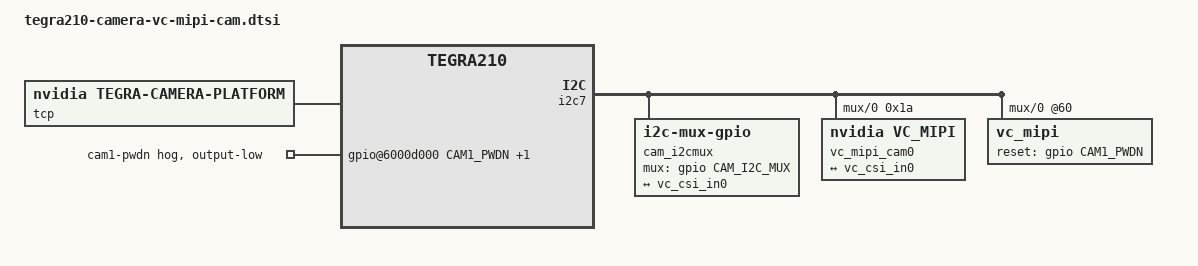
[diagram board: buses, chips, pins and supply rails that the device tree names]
/*
 * Copyright (c) 2020-2021, Vision Components GmbH.  All rights reserved.
 *
 * This program is free software; you can redistribute it and/or modify
 * it under the terms of the GNU General Public License as published by
 * the Free Software Foundation; either version 2 of the License, or
 * (at your option) any later version.
 *
 * This program is distributed in the hope that it will be useful, but WITHOUT
 * ANY WARRANTY; without even the implied warranty of MERCHANTABILITY or
 * FITNESS FOR A PARTICULAR PURPOSE.  See the GNU General Public License for
 * more details.
 *
 * You should have received a copy of the GNU General Public License
 * along with this program.  If not, see <http://www.gnu.org/licenses/>.
 */

#include <dt-bindings/media/camera.h>
#include <dt-bindings/platform/t210/t210.h>

// ------------------------------------------------------------------------------------------------
//  Driver Configuration for NVIDIA Jetson Nano 4GB/2GB on NVIDIA Jetson Nano Developer Kit
// ------------------------------------------------------------------------------------------------
#define VC_MIPI_CAM_0       1   // 1: Enabled, 0: Disabled  (serial_a => CSI Port 0 => VI Stream 0)
#define VC_MIPI_CAM_1       0   // 1: Enabled, 0: Disabled  (serial_e => CSI Port 4 => VI Stream 4)
// ------------------------------------------------------------------------------------------------
//  Supported number of lanes
// -----+------------------------------------------------------------------------------------------
//  1   | OV7251, IMX296, IMX297
//  2   | OV9281, IMX264, IMX265
//  2,4 | IMX178, IMX183, IMX226, IMX250, IMX252, IMX273, IMX290, IMX327, IMX335, IMX392, 
//      | IMX412, IMX415, IMX568
// -----+------------------------------------------------------------------------------------------
#define VC_MIPI_LANES       2   // 1, 2 Lanes
// ------------------------------------------------------------------------------------------------
//   Sensor Manufacturer
// -----+------------------------------------------------------------------------------------------
//   1  | Sony Sensor (IMX)
//   2  | Omni Vision Sensor (OV)
// -----+------------------------------------------------------------------------------------------
#define VC_MIPI_MANUFACTURER 1
// ------------------------------------------------------------------------------------------------
//  GStreamer Support
// ------------------------------------------------------------------------------------------------
//  If you want to use GStreamer with nvarguscamerasrc you have to adjust this settings in the 
//  device tree below.
//
//   +--------+------------+------------+-------------+-------------+-------------------+
//   | Camera | physical_w | physical_h | active_w    | active_h    | <pixelformat>     |
//   |        |            |            | line_length |             | see next table    |
//   +--------+------------+------------+-------------+-------------+----+----+----+----+
//   | V4LAPI |      1.000 |      1.000 |        1024 |         768 |    | 10 |    |    |
//   | IMX178 |      7.430 |      4.992 |        3072 |        2048 | 08 | 10 | 12 | 14 |
//   | IMX183 |     13.305 |      8.865 |        5440 |        3648 |    | 10 | 12 |    |
//   | IMX226 |      7.533 |      5.635 |        3904 |        3000 | 08 | 10 | 12 |    |
//   | IMX250 |      8.446 |      7.066 |        2432 |        2048 | 08 | 10 | 12 |    |
//   | IMX252 |      7.066 |      5.299 |        2048 |        1536 | 08 | 10 | 12 |    |
//   | IMX264 |      8.390 |      7.066 |        2432 |        2048 | 08 | 10 | 12 |    |
//   | IMX265 |      7.065 |      5.299 |        2048 |        1536 | 08 | 10 | 12 |    |
//   | IMX273 |      4.970 |      3.726 |        1440 |        1080 | 08 | 10 | 12 |    |
//   | IMX290 |      5.617 |      3.181 |        1920 |        1080 |    | 10 | 12 |    |
//   | IMX296 |      4.968 |      3.726 |        1440 |        1080 |    | 10 |    |    |
//   | IMX297 |      4.968 |      3.726 |         720 |         540 |    | 10 |    |    |
//   | IMX327 |      5.617 |      3.181 |        1920 |        1080 |    | 10 | 12 |    |
//   | IMX335 |      5.120 |      3.928 |        2560 |        1944 |    | 10 | 12 |    |
//   | IMX392 |      6.679 |      4.195 |        1920 |        1200 | 08 | 10 | 12 |    |
//   | IMX412 |      6.287 |      4.712 |        4032 |        3040 |    | 10 |    |    |
//   | IMX415 |      5.602 |      3.155 |        3840 |        2160 |    | 10!|    |    |
//   | IMX568 |      6.773 |      5.655 |        2464 |        2048 | 08 | 10 | 12 |    |
//   | OV7281 |      1.920 |      1.440 |         640 |         480 | 08 | 10 |    |    |
//   | OV9281 |      3.840 |      2.400 |        1280 |         800 | 08 | 10 |    |    |
//   +--------+------------+------------+-------------+-------------+-------------------+
//
//   NOTE: 10! substitute rggb with gbrg for the IMX415
//   +---------------+--------------+-----------+-------------+---------------------+
//   | <pixelformat> | pixel_t      | mode_type | pixel_phase | csi_pixel_bit_depth |
//   +---------------+--------------+-----------+-------------+---------------------+
//   |            08 | bayer_rggb8  | bayer     | rggb        | 8                   |
//   |            10 | bayer_rggb   | bayer     | rggb        | 10                  |
//   |            12 | bayer_rggb12 | bayer     | rggb        | 12                  |
//   |            14 |                - not supported yet -                         |
//   +---------------+--------------+-----------+-------------+---------------------+
//
// ------------------------------------------------------------------------------------------------

#define VC_MIPI_METADATA_H  "0"

#if VC_MIPI_LANES == 1
    #define BUS_WIDTH 1
    #define NUM_LANES "1" 
    #define NUM_CSI_LANES 2
#endif
#if VC_MIPI_LANES == 2
    #define BUS_WIDTH 2
    #define NUM_LANES "2" 
    #define NUM_CSI_LANES 4
#endif

#if VC_MIPI_CAM_0 == 1 && VC_MIPI_CAM_1 == 1
    #define VC_MIPI_CAMERAS 2
#else
    #define VC_MIPI_CAMERAS 1
#endif

/ {
    host1x {
        vc_vi_base: vi {
            num-channels = <VC_MIPI_CAMERAS>;
            ports {
                #address-cells = <1>;
                #size-cells = <0>;
#if VC_MIPI_CAM_0 == 1
                vc_vi_port0: port@0 {
                    reg = <0>;
                    vc_vi_in0: endpoint {
                        port-index = <0>;
                        bus-width = <BUS_WIDTH>;
                        remote-endpoint = <&vc_csi_out0>;
                    };
                };
#endif
#if VC_MIPI_CAM_1 == 1
                vc_vi_port1: port@1 {
                    reg = <1>;
                    vc_vi_in1: endpoint {
                        port-index = <4>;
                        bus-width = <BUS_WIDTH>;
                        remote-endpoint = <&vc_csi_out1>;
                    };
                };
#endif
            };
        };

        vc_csi_base: nvcsi {
            num-channels = <VC_MIPI_CAMERAS>;
            #address-cells = <1>;
            #size-cells = <0>;
#if VC_MIPI_CAM_0 == 1
            vc_csi_chan0: channel@0 {
                reg = <0>;
                ports {
                    #address-cells = <1>;
                    #size-cells = <0>;
                    vc_csi_chan0_port0: port@0 {
                        reg = <0>;
                        vc_csi_in0: endpoint@0 {
                            port-index = <0>;
                            bus-width = <BUS_WIDTH>;
                            remote-endpoint = <&vc_mipi_out0>;
                        };
                    };
                    vc_csi_chan0_port1: port@1 {
                        reg = <1>;
                        vc_csi_out0: endpoint@1 {
                            remote-endpoint = <&vc_vi_in0>;
                        };
                    };
                };
            };
#endif
#if VC_MIPI_CAM_1 == 1
            vc_csi_chan1: channel@1 {
                reg = <1>;
                ports {
                    #address-cells = <1>;
                    #size-cells = <0>;
                    vc_csi_chan1_port0: port@0 {
                        reg = <0>;
                        vc_csi_in1: endpoint@2 {
                            port-index = <4>;
                            bus-width = <BUS_WIDTH>;
                            remote-endpoint = <&vc_mipi_out1>;
                        };
                    };
                    vc_csi_chan1_port1: port@1 {
                        reg = <1>;
                        vc_csi_out1: endpoint@3 {
                            remote-endpoint = <&vc_vi_in1>;
                        };
                    };
                };
            };
#endif
        };
    };

    cam_i2cmux {
#if VC_MIPI_CAM_0 == 1
        i2c@0 {
#if VC_MIPI_MANUFACTURER == 1
            vc_mipi_cam0: vc_mipi@1a {
                reg                     = <0x1a>;
#else
            vc_mipi_cam0: vc_mipi@60 {
                reg                     = <0x60>;
#endif
                compatible              = "nvidia,vc_mipi";
                devnode                 = "video0";
                use_sensor_mode_id      = "false";
                sensor_model            = "vc_mipi";

                num_lanes               = NUM_LANES;
                trigger_mode            = "0";
                flash_mode              = "0";

                // ----------------------------------------------------
                // If you want to use GStreamer with nvarguscamerasrc
                // you have to adjust this settings
                physical_w              = "1.000";
                physical_h              = "1.000";
                // ----------------------------------------------------

                // This node is needed by the Tegra framework.
                // You don't have to change any settings if just want to use the V4L API.
                mode0 {
                    num_lanes                = NUM_LANES;
                    tegra_sinterface         = "serial_a";
                    embedded_metadata_height = VC_MIPI_METADATA_H;
                    readout_orientation      = "0";

                    // ----------------------------------------------------
                    // If you want to use GStreamer with nvarguscamerasrc
                    // you have to adjust this settings. 
                    active_w                 = "1024";
                    active_h                 = "768";
                    line_length              = "1024";
                    pixel_t                  = "bayer_rggb";
                    mode_type                = "bayer";
                    pixel_phase              = "rggb";
                    csi_pixel_bit_depth      = "10";
                    // ----------------------------------------------------

                    gain_factor              = "1";
                    min_gain_val             = "1";
                    max_gain_val             = "64";
                    step_gain_val            = "1";
                    default_gain             = "1";
                    inherent_gain            = "1";

                    exposure_factor          = "1000";
                    min_exp_time             = "1000000";
                    max_exp_time             = "150000000";
                    step_exp_time            = "1000000";
                    default_exp_time         = "10000000";

                    framerate_factor         = "1";
                    min_framerate            = "1";
                    max_framerate            = "1000";
                    step_framerate           = "1";
                    default_framerate        = "1000";

                    min_hdr_ratio            = "1";
                    max_hdr_ratio            = "1";

                    phy_mode                 = "DPHY";
                    discontinuous_clk        = "no";
                    mclk_khz                 = "24000";
                    pix_clk_hz               = "800000000";
                    mclk_multiplier          = "9.33";
                    cil_settletime           = "0";
                    dpcm_enable              = "false";
                };

                ports {
                    #address-cells = <1>;
                    #size-cells = <0>;
                    port@0 {
                        reg = <0>;
                        vc_mipi_out0: endpoint {
                            port-index = <0>;
                            bus-width = <BUS_WIDTH>;
                            remote-endpoint = <&vc_csi_in0>;
                        };
                    };
                };
            };
        };
#endif
#if VC_MIPI_CAM_1 == 1
        i2c@1 {
#if VC_MIPI_MANUFACTURER == 1
            vc_mipi_cam1: vc_mipi@1a {
                reg                     = <0x1a>;
#else
            vc_mipi_cam1: vc_mipi@60 {
                reg                     = <0x60>;
#endif
                compatible              = "nvidia,vc_mipi";
                devnode                 = "video1";
                use_sensor_mode_id      = "false";
                sensor_model            = "vc_mipi";

                num_lanes               = NUM_LANES;
                trigger_mode            = "0";
                flash_mode              = "0";

                // ----------------------------------------------------
                // If you want to use GStreamer with nvarguscamerasrc
                // you have to adjust this settings
                physical_w              = "1.000";
                physical_h              = "1.000";
                // ----------------------------------------------------

                // This node is needed by the Tegra framework.
                // You don't have to change any settings if just want to use the V4L API.
                mode0 {
                    num_lanes                = NUM_LANES;
                    tegra_sinterface         = "serial_e";
                    embedded_metadata_height = VC_MIPI_METADATA_H;
                    readout_orientation      = "0";

                    // ----------------------------------------------------
                    // If you want to use GStreamer with nvarguscamerasrc
                    // you have to adjust this settings. 
                    active_w                 = "1024";
                    active_h                 = "768";
                    line_length              = "1024";
                    pixel_t                  = "bayer_rggb";
                    mode_type                = "bayer";
                    pixel_phase              = "rggb";
                    csi_pixel_bit_depth      = "10";
                    // ----------------------------------------------------

                    gain_factor              = "1";
                    min_gain_val             = "1";
                    max_gain_val             = "64";
                    step_gain_val            = "1";
                    default_gain             = "1";
                    inherent_gain            = "1";

                    exposure_factor          = "1000";
                    min_exp_time             = "1000000";
                    max_exp_time             = "150000000";
                    step_exp_time            = "1000000";
                    default_exp_time         = "10000000";

                    framerate_factor         = "1";
                    min_framerate            = "1";
                    max_framerate            = "1000";
                    step_framerate           = "1";
                    default_framerate        = "1000";

                    min_hdr_ratio            = "1";
                    max_hdr_ratio            = "1";

                    phy_mode                 = "DPHY";
                    discontinuous_clk        = "no";
                    mclk_khz                 = "24000";
                    pix_clk_hz               = "800000000";
                    mclk_multiplier          = "9.33";
                    cil_settletime           = "0";
                    dpcm_enable              = "false";
                };

                ports {
                    #address-cells = <1>;
                    #size-cells = <0>;
                    port@0 {
                        reg = <0>;
                        vc_mipi_out1: endpoint {
                            port-index = <4>;
                            bus-width = <BUS_WIDTH>;
                            remote-endpoint = <&vc_csi_in1>;
                        };
                    };
                };
            };
        };
#endif
    };

    lens@vc_mipi {
        min_focus_distance  = "0.0";
        hyper_focal         = "0.0";
        focal_length        = "6.0";
        f_number            = "2.0";
        aperture            = "0.0";
    };
};

/ {
    tcp: tegra-camera-platform {
        compatible = "nvidia, tegra-camera-platform";

        num_csi_lanes = <NUM_CSI_LANES>;
        max_lane_speed = <1500000>;
        min_bits_per_pixel = <10>;
        vi_peak_byte_per_pixel = <2>;
        vi_bw_margin_pct = <25>;
        max_pixel_rate = <240000>;
        isp_peak_byte_per_pixel = <5>;
        isp_bw_margin_pct = <25>;

        modules {
#if VC_MIPI_CAM_0 == 1
            cam_module0: module0 {
                status = "okay";
                badge = "porg_front_vc_mipi";
                position = "front";
                orientation = "1";
                cam_module0_drivernode0: drivernode0 {
                    status = "okay";
                    pcl_id = "v4l2_sensor";
#if VC_MIPI_MANUFACTURER == 1
                    devname = "vc_mipi 7-001a";
                    proc-device-tree = "/proc/device-tree/cam_i2cmux/i2c@0/vc_mipi@1a";
#else
                    devname = "vc_mipi 7-0060";
                    proc-device-tree = "/proc/device-tree/cam_i2cmux/i2c@0/vc_mipi@60";
#endif
                };
                cam_module0_drivernode1: drivernode1 {
                    status = "okay";
                    pcl_id = "v4l2_lens";
                    proc-device-tree = "/proc/device-tree/lens@vc_mipi/";
                };
            };
#endif
#if VC_MIPI_CAM_1 == 1
            cam_module1: module1 {
                status = "okay";
                badge = "porg_rear_vc_mipi";
                position = "rear";
                orientation = "1";
                cam_module1_drivernode0: drivernode0 {
                    status = "okay";
                    pcl_id = "v4l2_sensor";
#if VC_MIPI_MANUFACTURER == 1
                    devname = "vc_mipi 8-001a";
                    proc-device-tree = "/proc/device-tree/cam_i2cmux/i2c@1/vc_mipi@1a";
#else
                    devname = "vc_mipi 8-0060";
                    proc-device-tree = "/proc/device-tree/cam_i2cmux/i2c@1/vc_mipi@60";
#endif
                };
                cam_module1_drivernode1: drivernode1 {
                    status = "okay";
                    pcl_id = "v4l2_lens";
                    proc-device-tree = "/proc/device-tree/lens@vc_mipi/";
                };
            };
#endif
        };
    };
};

#define CAM1_PWDN     TEGRA_GPIO(S, 7)
#define CAM2_PWDN     TEGRA_GPIO(T, 0)
#define CAM_I2C_MUX   TEGRA_GPIO(I, 0)

/ {
    cam_i2cmux {
        status = "okay";
        compatible = "i2c-mux-gpio";
        #address-cells = <1>;
        #size-cells = <0>;
        mux-gpios = <&gpio CAM_I2C_MUX GPIO_ACTIVE_HIGH>;
        i2c-parent = <&i2c7>;
#if VC_MIPI_CAM_0 == 1
        i2c@0 {
            status = "okay";
            reg = <0>;
            #address-cells = <1>;
            #size-cells = <0>;
#if VC_MIPI_MANUFACTURER == 1
            vc_mipi@60 {
#else
            vc_mipi@1a {
#endif
                status = "okay";
                reset-gpios = <&gpio CAM1_PWDN GPIO_ACTIVE_HIGH>;
            };
        };
#endif
#if VC_MIPI_CAM_1 == 1
        i2c@1 {
            status = "okay";
            reg = <1>;
            #address-cells = <1>;
            #size-cells = <0>;
#if VC_MIPI_MANUFACTURER == 1
            vc_mipi@60 {
#else
            vc_mipi@1a {
#endif
                status = "okay";
                reset-gpios = <&gpio CAM2_PWDN GPIO_ACTIVE_HIGH>;
            };
        };
#endif
    };

    gpio@6000d000 {
        camera-control-output-low {
            gpio-hog;
            output-low;
            gpios = <CAM1_PWDN 0 CAM2_PWDN 0>;
            label = "cam1-pwdn", "cam2-pwdn";
        };
    };
};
